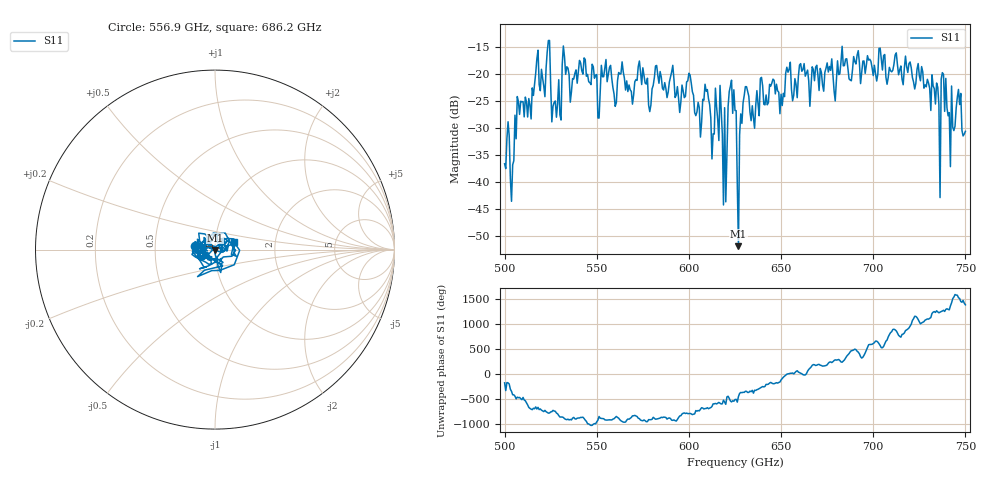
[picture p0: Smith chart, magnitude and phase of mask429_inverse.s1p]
!Created with skrf (http://scikit-rf.org).
# GHz S MA R 50.0
!freq magS11 angS11
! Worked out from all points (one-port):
!   401 points, 500 GHz to 750 GHz, reference 50 ohm
!   lowest |S11| = -51.8 dB at 626.9 GHz (marker M1), VSWR 1.01, Z = 50 - j0.257 ohm
!   |S11| at or under -10 dB: start of sweep to end of sweep
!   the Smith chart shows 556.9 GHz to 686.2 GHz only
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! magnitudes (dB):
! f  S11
! 500 GHz  -36.6
! 503.8 GHz  -43.5
! 508.1 GHz  -27.5
! 513.1 GHz  -24.6
! 517.5 GHz  -17.3
! 523.8 GHz  -13.9
! 526.9 GHz  -25.3
! 531.2 GHz  -18.4
! 562.5 GHz  -20.0
! 593.8 GHz  -22.4
! 610 GHz  -22.9
! 612.5 GHz  -35.7
! 616.2 GHz  -32.3
! 619.4 GHz  -26.3
! 622.5 GHz  -22.3
! 625 GHz  -26.8
! 626.9 GHz  -51.8
! 630.6 GHz  -22.4
! 634.4 GHz  -25.9
! 656.2 GHz  -25.0
! 687.5 GHz  -21.2
! 718.8 GHz  -19.8
! 733.1 GHz  -22.7
! 735 GHz  -22.5
! 738.1 GHz  -20.1
! 743.1 GHz  -29.9
! 746.2 GHz  -22.9
! 750 GHz  -30.6
